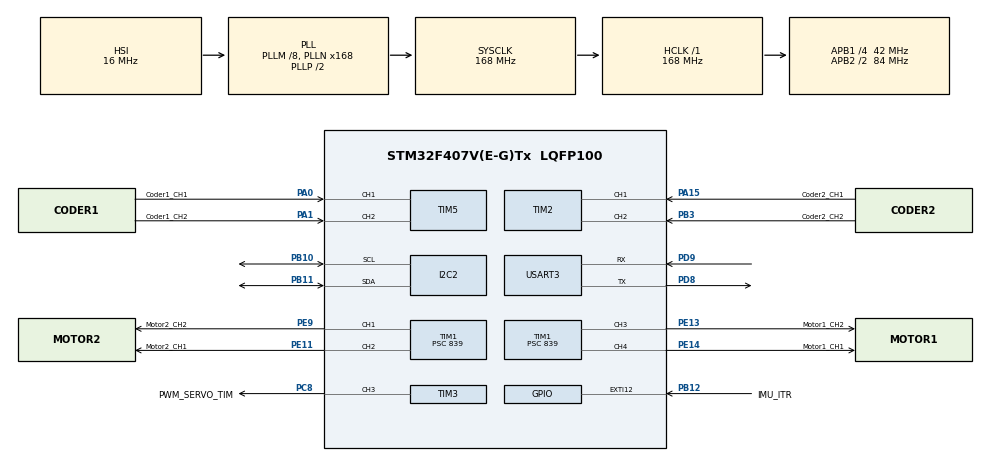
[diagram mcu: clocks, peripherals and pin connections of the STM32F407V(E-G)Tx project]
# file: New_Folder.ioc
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Dma.I2C2_RX.0.Direction=DMA_PERIPH_TO_MEMORY
Dma.I2C2_RX.0.FIFOMode=DMA_FIFOMODE_DISABLE
Dma.I2C2_RX.0.Instance=DMA1_Stream2
Dma.I2C2_RX.0.MemDataAlignment=DMA_MDATAALIGN_BYTE
Dma.I2C2_RX.0.MemInc=DMA_MINC_ENABLE
Dma.I2C2_RX.0.Mode=DMA_NORMAL
Dma.I2C2_RX.0.PeriphDataAlignment=DMA_PDATAALIGN_BYTE
Dma.I2C2_RX.0.PeriphInc=DMA_PINC_DISABLE
Dma.I2C2_RX.0.Priority=DMA_PRIORITY_VERY_HIGH
Dma.I2C2_TX.1.Direction=DMA_MEMORY_TO_PERIPH
Dma.I2C2_TX.1.FIFOMode=DMA_FIFOMODE_DISABLE
Dma.I2C2_TX.1.Instance=DMA1_Stream7
Dma.I2C2_TX.1.MemDataAlignment=DMA_MDATAALIGN_BYTE
Dma.I2C2_TX.1.MemInc=DMA_MINC_ENABLE
Dma.I2C2_TX.1.Mode=DMA_NORMAL
Dma.I2C2_TX.1.PeriphDataAlignment=DMA_PDATAALIGN_BYTE
Dma.I2C2_TX.1.PeriphInc=DMA_PINC_DISABLE
Dma.I2C2_TX.1.Priority=DMA_PRIORITY_VERY_HIGH
Dma.Request0=I2C2_RX
Dma.Request1=I2C2_TX
Dma.Request2=USART3_RX
Dma.Request3=USART3_TX
Dma.USART3_RX.2.Direction=DMA_PERIPH_TO_MEMORY
Dma.USART3_RX.2.FIFOMode=DMA_FIFOMODE_DISABLE
Dma.USART3_RX.2.Instance=DMA1_Stream1
Dma.USART3_RX.2.MemDataAlignment=DMA_MDATAALIGN_BYTE
Dma.USART3_RX.2.MemInc=DMA_MINC_ENABLE
Dma.USART3_RX.2.Mode=DMA_NORMAL
Dma.USART3_RX.2.PeriphDataAlignment=DMA_PDATAALIGN_BYTE
Dma.USART3_RX.2.PeriphInc=DMA_PINC_DISABLE
Dma.USART3_RX.2.Priority=DMA_PRIORITY_HIGH
Dma.USART3_TX.3.Direction=DMA_MEMORY_TO_PERIPH
Dma.USART3_TX.3.FIFOMode=DMA_FIFOMODE_DISABLE
Dma.USART3_TX.3.Instance=DMA1_Stream3
Dma.USART3_TX.3.MemDataAlignment=DMA_MDATAALIGN_BYTE
Dma.USART3_TX.3.MemInc=DMA_MINC_ENABLE
Dma.USART3_TX.3.Mode=DMA_NORMAL
Dma.USART3_TX.3.PeriphDataAlignment=DMA_PDATAALIGN_BYTE
Dma.USART3_TX.3.PeriphInc=DMA_PINC_DISABLE
Dma.USART3_TX.3.Priority=DMA_PRIORITY_HIGH
FREERTOS.Tasks01=defaultTask,8,128,StartDefaultTask,Default,NULL,Dynamic,NULL,NULL;myTask01,48,512,MotorCtrlTask,Default,NULL,Dynamic,NULL,NULL;myTask02,49,1024,CmdParseTask,Default,NULL,Dynamic,NULL,NULL;myTask04,40,1024,DataSendTask,Default,NULL,Dynamic,NULL,NULL
FREERTOS.configENABLE_FPU=1
Mcu.Family=STM32F4
Mcu.Name=STM32F407V(E-G)Tx
Mcu.Package=LQFP100
NVIC.DMA1_Stream1_IRQn=true\:5\:0\:false\:false\:true\:true\:false\:true\:true
NVIC.DMA1_Stream2_IRQn=true\:5\:0\:false\:false\:true\:true\:false\:true\:true
NVIC.DMA1_Stream3_IRQn=true\:5\:0\:false\:false\:true\:true\:false\:true\:true
NVIC.DMA1_Stream7_IRQn=true\:5\:0\:false\:false\:true\:true\:false\:true\:true
NVIC.EXTI15_10_IRQn=true\:5\:0\:false\:false\:true\:true\:true\:true\:true
NVIC.FLASH_IRQn=true\:5\:0\:false\:false\:true\:true\:true\:true\:true
NVIC.FPU_IRQn=true\:5\:0\:false\:false\:true\:true\:true\:false\:true
NVIC.I2C2_ER_IRQn=true\:5\:0\:false\:false\:true\:true\:true\:true\:true
NVIC.I2C2_EV_IRQn=true\:5\:0\:false\:false\:true\:true\:true\:true\:true
NVIC.PVD_IRQn=true\:5\:0\:false\:false\:true\:true\:true\:true\:true
NVIC.PriorityGroup=NVIC_PRIORITYGROUP_4
NVIC.RCC_IRQn=true\:5\:0\:false\:false\:true\:true\:true\:false\:true
NVIC.TIM1_BRK_TIM9_IRQn=true\:5\:0\:false\:false\:true\:true\:true\:true\:true
NVIC.TIM1_CC_IRQn=true\:5\:0\:false\:false\:true\:true\:true\:true\:true
NVIC.TIM1_TRG_COM_TIM11_IRQn=true\:5\:0\:false\:false\:true\:true\:true\:true\:true
NVIC.TIM1_UP_TIM10_IRQn=true\:5\:0\:false\:false\:true\:true\:true\:true\:true
NVIC.TIM2_IRQn=true\:7\:0\:true\:false\:true\:true\:true\:true\:true
NVIC.TIM3_IRQn=true\:7\:0\:true\:false\:true\:true\:true\:true\:true
NVIC.TIM5_IRQn=true\:7\:0\:true\:false\:true\:true\:true\:true\:true
NVIC.TIM6_DAC_IRQn=true\:6\:0\:true\:false\:true\:true\:true\:true\:true
NVIC.TIM8_TRG_COM_TIM14_IRQn=true\:0\:0\:true\:false\:true\:false\:false\:true\:true
NVIC.TimeBase=TIM8_TRG_COM_TIM14_IRQn
NVIC.TimeBaseIP=TIM14
NVIC.USART3_IRQn=true\:5\:0\:true\:false\:true\:true\:true\:true\:true
PA0-WKUP.GPIO_Label=Coder1_CH1
PA0-WKUP.Signal=S_TIM5_CH1
PA1.GPIO_Label=Coder1_CH2
PA1.Signal=S_TIM5_CH2
PA13.Mode=Serial_Wire
PA13.Signal=SYS_JTMS-SWDIO
PA14.Mode=Serial_Wire
PA14.Signal=SYS_JTCK-SWCLK
PA15.GPIO_Label=Coder2_CH1
PA15.Signal=S_TIM2_CH1_ETR
PB10.GPIO_Pu=GPIO_PULLUP
PB10.Mode=I2C
PB10.Signal=I2C2_SCL
PB11.GPIO_Pu=GPIO_PULLUP
PB11.Mode=I2C
PB11.Signal=I2C2_SDA
PB12.GPIO_Label=IMU_ITR
PB12.Signal=GPXTI12
PB3.GPIO_Label=Coder2_CH2
PB3.Signal=S_TIM2_CH2
PC14-OSC32_IN.Mode=LSE-External-Oscillator
PC14-OSC32_IN.Signal=RCC_OSC32_IN
PC15-OSC32_OUT.Mode=LSE-External-Oscillator
PC15-OSC32_OUT.Signal=RCC_OSC32_OUT
PC8.GPIO_Label=PWM_SERVO_TIM
PC8.GPIO_Speed=GPIO_SPEED_FREQ_HIGH
PC8.Signal=S_TIM3_CH3
PD8.Mode=Asynchronous
PD8.Signal=USART3_TX
PD9.Mode=Asynchronous
PD9.Signal=USART3_RX
PE11.GPIO_Label=Motor2_CH1
PE11.GPIO_Speed=GPIO_SPEED_FREQ_HIGH
PE11.Signal=S_TIM1_CH2
PE13.GPIO_Label=Motor1_CH2
PE13.GPIO_Speed=GPIO_SPEED_FREQ_HIGH
PE13.Signal=S_TIM1_CH3
PE14.GPIO_Label=Motor1_CH1
PE14.GPIO_Speed=GPIO_SPEED_FREQ_HIGH
PE14.Signal=S_TIM1_CH4
PE9.GPIO_Label=Motor2_CH2
PE9.GPIO_Speed=GPIO_SPEED_FREQ_HIGH
PE9.Signal=S_TIM1_CH1
PH0-OSC_IN.Mode=HSE-External-Oscillator
PH0-OSC_IN.Signal=RCC_OSC_IN
PH1-OSC_OUT.Mode=HSE-External-Oscillator
PH1-OSC_OUT.Signal=RCC_OSC_OUT
ProjectManager.HeapSize=0x200
ProjectManager.StackSize=0x400
ProjectManager.TargetToolchain=CMake
RCC.48MHZClocksFreq_Value=84000000
RCC.AHBFreq_Value=168000000
RCC.APB1CLKDivider=RCC_HCLK_DIV4
RCC.APB1Freq_Value=42000000
RCC.APB1TimFreq_Value=84000000
RCC.APB2CLKDivider=RCC_HCLK_DIV2
RCC.APB2Freq_Value=84000000
RCC.APB2TimFreq_Value=168000000
RCC.CortexFreq_Value=168000000
RCC.HCLKFreq_Value=168000000
RCC.HSE_VALUE=25000000
RCC.HSI_VALUE=16000000
RCC.PLLM=8
RCC.PLLN=168
RCC.SYSCLKFreq_VALUE=168000000
RCC.SYSCLKSource=RCC_SYSCLKSOURCE_PLLCLK
RCC.VCOOutputFreq_Value=336000000
SH.S_TIM1_CH1.0=TIM1_CH1,PWM Generation1 CH1
SH.S_TIM1_CH2.0=TIM1_CH2,PWM Generation2 CH2
SH.S_TIM1_CH3.0=TIM1_CH3,PWM Generation3 CH3
SH.S_TIM1_CH4.0=TIM1_CH4,PWM Generation4 CH4
SH.S_TIM2_CH1_ETR.0=TIM2_CH1,Encoder_Interface
SH.S_TIM2_CH2.0=TIM2_CH2,Encoder_Interface
SH.S_TIM3_CH3.0=TIM3_CH3,PWM Generation3 CH3
SH.S_TIM5_CH1.0=TIM5_CH1,Encoder_Interface
SH.S_TIM5_CH2.0=TIM5_CH2,Encoder_Interface
TIM1.AutoReloadPreload=TIM_AUTORELOAD_PRELOAD_ENABLE
TIM1.Channel-PWM\ Generation1\ CH1=TIM_CHANNEL_1
TIM1.Channel-PWM\ Generation2\ CH2=TIM_CHANNEL_2
TIM1.Channel-PWM\ Generation3\ CH3=TIM_CHANNEL_3
TIM1.Channel-PWM\ Generation4\ CH4=TIM_CHANNEL_4
TIM1.Period=999
TIM1.Prescaler=839
TIM3.AutoReloadPreload=TIM_AUTORELOAD_PRELOAD_ENABLE
TIM3.Channel-PWM\ Generation3\ CH3=TIM_CHANNEL_3
TIM3.Period=3359
TIM3.Prescaler=999
TIM6.Period=99
TIM6.Prescaler=8399
USART3.VirtualMode=VM_ASYNC
VP_FREERTOS_VS_CMSIS_V2.Mode=CMSIS_V2
VP_SYS_VS_tim14.Mode=TIM14
VP_TIM1_VS_ClockSourceINT.Mode=Internal
VP_TIM6_VS_ClockSourceINT.Mode=Enable_Timer
board=custom

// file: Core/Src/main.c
/* USER CODE BEGIN Header */
/**
  ******************************************************************************
  * @file           : main.c
  * @brief          : Main program body
  ******************************************************************************
  * @attention
  *
  * Copyright (c) 2026 STMicroelectronics.
  * All rights reserved.
  *
  * This software is licensed under terms that can be found in the LICENSE file
  * in the root directory of this software component.
  * If no LICENSE file comes with this software, it is provided AS-IS.
  *
  ******************************************************************************
  */
/* USER CODE END Header */
#include "main.h"
#include "cmsis_os.h"
#include "dma.h"
#include "i2c.h"
#include "tim.h"
#include "usart.h"
#include "gpio.h"

/* USER CODE BEGIN Includes */
#include "encoder_motor.h"
#include "motor_porting.h"
/* USER CODE END Includes */

void SystemClock_Config(void);
void MX_FREERTOS_Init(void);

int main(void)
{

  /* MCU Configuration--------------------------------------------------------*/

  /* Reset of all peripherals, Initializes the Flash interface and the Systick. */
  HAL_Init();

  /* Configure the system clock */
  SystemClock_Config();

  /* Initialize all configured peripherals */
  MX_GPIO_Init();
  MX_DMA_Init();
  MX_I2C2_Init();
  MX_USART3_UART_Init();
  MX_TIM1_Init();
  MX_TIM2_Init();
  MX_TIM5_Init();
  MX_TIM6_Init();
  MX_TIM3_Init();
  /* USER CODE BEGIN 2 */

  // 提高系统时间基准 TIM14 的中断优先级，避免被高优先级中断饿死
  HAL_NVIC_SetPriority(TIM8_TRG_COM_TIM14_IRQn, 5, 0);
  /* USER CODE END 2 */

  /* Init scheduler */
  osKernelInitialize();  /* Call init function for freertos objects (in cmsis_os2.c) */
  MX_FREERTOS_Init();

  /* Start scheduler */
  osKernelStart();

  /* We should never get here as control is now taken by the scheduler */

  /* Infinite loop */
  while (1)
  {

  }
}

void SystemClock_Config(void)
{
  RCC_OscInitTypeDef RCC_OscInitStruct = {0};
  RCC_ClkInitTypeDef RCC_ClkInitStruct = {0};

  /** Configure the main internal regulator output voltage
  */
  __HAL_RCC_PWR_CLK_ENABLE();
  __HAL_PWR_VOLTAGESCALING_CONFIG(PWR_REGULATOR_VOLTAGE_SCALE1);

  /** Initializes the RCC Oscillators according to the specified parameters
  * in the RCC_OscInitTypeDef structure.
  */
  RCC_OscInitStruct.OscillatorType = RCC_OSCILLATORTYPE_HSI;
  RCC_OscInitStruct.HSIState = RCC_HSI_ON;
  RCC_OscInitStruct.HSICalibrationValue = RCC_HSICALIBRATION_DEFAULT;
  RCC_OscInitStruct.PLL.PLLState = RCC_PLL_ON;
  RCC_OscInitStruct.PLL.PLLSource = RCC_PLLSOURCE_HSI;
  RCC_OscInitStruct.PLL.PLLM = 8;
  RCC_OscInitStruct.PLL.PLLN = 168;
  RCC_OscInitStruct.PLL.PLLP = RCC_PLLP_DIV2;
  RCC_OscInitStruct.PLL.PLLQ = 4;
  if (HAL_RCC_OscConfig(&RCC_OscInitStruct) != HAL_OK)
  {
    Error_Handler();
  }

  /** Initializes the CPU, AHB and APB buses clocks
  */
  RCC_ClkInitStruct.ClockType = RCC_CLOCKTYPE_HCLK|RCC_CLOCKTYPE_SYSCLK
                              |RCC_CLOCKTYPE_PCLK1|RCC_CLOCKTYPE_PCLK2;
  RCC_ClkInitStruct.SYSCLKSource = RCC_SYSCLKSOURCE_PLLCLK;
  RCC_ClkInitStruct.AHBCLKDivider = RCC_SYSCLK_DIV1;
  RCC_ClkInitStruct.APB1CLKDivider = RCC_HCLK_DIV4;
  RCC_ClkInitStruct.APB2CLKDivider = RCC_HCLK_DIV2;

  if (HAL_RCC_ClockConfig(&RCC_ClkInitStruct, FLASH_LATENCY_5) != HAL_OK)
  {
    Error_Handler();
  }
}

void HAL_TIM_PeriodElapsedCallback(TIM_HandleTypeDef *htim)
{
  /* USER CODE BEGIN Callback 0 */
  /* 处理系统时间基准：TIM14 负责 HAL Tick */
  /* USER CODE END Callback 0 */
  if (htim->Instance == TIM14)
  {
    HAL_IncTick();
  }
  /* USER CODE BEGIN Callback 1 */
  else if (htim->Instance == TIM6)
  {
    static uint32_t last_tick_motor = 0;
    uint32_t now = HAL_GetTick();           // 此时 uwTick 已由 TIM14 正常更新
    float period = (now - last_tick_motor) / 1000.0f;
    if (period <= 0.0f || period > 0.1f) period = 0.01f;
    last_tick_motor = now;

    int32_t cnt1 = __HAL_TIM_GET_COUNTER(&htim5);
    int32_t cnt2 = __HAL_TIM_GET_COUNTER(&htim2);
    encoder_update(&motor1, period, cnt1);
    encoder_update(&motor2, period, cnt2);
  }
  /* USER CODE END Callback 1 */
}

void Error_Handler(void)
{
  __disable_irq();
  while (1)
  {
  }
}

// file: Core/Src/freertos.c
/* USER CODE BEGIN Header */
/**
  ******************************************************************************
  * File Name          : freertos.c
  * Description        : Code for freertos applications
  ******************************************************************************
  * @attention
  *
  * Copyright (c) 2026 STMicroelectronics.
  * All rights reserved.
  *
  * This software is licensed under terms that can be found in the LICENSE file
  * in the root directory of this software component.
  * If no LICENSE file comes with this software, it is provided AS-IS.
  *
  ******************************************************************************
  */
/* USER CODE END Header */

#include "FreeRTOS.h"
#include "task.h"
#include "main.h"
#include "cmsis_os.h"

/* USER CODE BEGIN Includes */
#include "comm_protocol.h"
#include "motor_porting.h"
#include "QMI8658.h"
#include "usart.h"
#include <string.h>
#include "pid.h"
#include "queue.h"
#include "tim.h"
#include "semphr.h"      // 互斥锁头文件
/* USER CODE END Includes */

/* USER CODE BEGIN PTD */

typedef struct {
  float motor1_target_rps;
  float motor2_target_rps;
} MotorCmd_t;
/* USER CODE END PTD */

/* USER CODE BEGIN PD */

// 遥测数据发送周期（毫秒）
#define TELEMETRY_SEND_PERIOD_MS    10
/* USER CODE END PD */

/* USER CODE BEGIN Variables */

static float target_rps_low_limit = 25.0f;
static CommandPacket rxCmd;
static MotorCmd_t MotorCmd;
static uint16_t servoAngle;

// 队列句柄
static QueueHandle_t xMotorCmdQueue = NULL;
static QueueHandle_t xServoCmdQueue = NULL;

// 串口互斥锁（保护 HAL_UART_Receive / HAL_UART_Transmit）
static SemaphoreHandle_t xUartMutex = NULL;

// 共享姿态数据（由IMU任务更新，遥测任务读取）
static volatile float g_roll = 0.0f;
static volatile float g_pitch = 0.0f;
static volatile float g_yaw = 0.0f;
/* USER CODE END Variables */
/* Definitions for defaultTask */
osThreadId_t defaultTaskHandle;
const osThreadAttr_t defaultTask_attributes = {
  .name = "defaultTask",
  .stack_size = 128 * 4,
  .priority = (osPriority_t) osPriorityLow,
};
/* Definitions for myTask01 */
osThreadId_t myTask01Handle;
const osThreadAttr_t myTask01_attributes = {
  .name = "myTask01",
  .stack_size = 512 * 4,
  .priority = (osPriority_t) osPriorityRealtime,
};
/* Definitions for myTask02 */
osThreadId_t myTask02Handle;
const osThreadAttr_t myTask02_attributes = {
  .name = "myTask02",
  .stack_size = 1024 * 4,
  .priority = (osPriority_t) osPriorityRealtime1,
};
/* Definitions for myTask04 */
osThreadId_t myTask04Handle;
const osThreadAttr_t myTask04_attributes = {
  .name = "myTask04",
  .stack_size = 1024 * 4,
  .priority = (osPriority_t) osPriorityHigh,
};

/* USER CODE BEGIN FunctionPrototypes */
static void SystemHardwareInit(void);  // 硬件初始化（电机、IMU、PWM等）
/* USER CODE END FunctionPrototypes */

void StartDefaultTask(void *argument);
void MotorCtrlTask(void *argument);
void CmdParseTask(void *argument);
void DataSendTask(void *argument);

void MX_FREERTOS_Init(void); /* (MISRA C 2004 rule 8.1) */

void MX_FREERTOS_Init(void) {
  /* USER CODE BEGIN Init */
  SystemHardwareInit();

  // 创建队列
  xMotorCmdQueue = xQueueCreate(5, sizeof(MotorCmd_t));
  xServoCmdQueue = xQueueCreate(5, sizeof(uint16_t));
  if (xMotorCmdQueue == NULL || xServoCmdQueue == NULL) {
    Error_Handler();
  }

  // 创建串口互斥锁
  xUartMutex = xSemaphoreCreateMutex();
  if (xUartMutex == NULL) {
    Error_Handler();
  }

  MotorCmd.motor1_target_rps = target_rps_low_limit;
  MotorCmd.motor2_target_rps = target_rps_low_limit;

  /* USER CODE END Init */

  /* Create the thread(s) */
  /* creation of defaultTask */
  defaultTaskHandle = osThreadNew(StartDefaultTask, NULL, &defaultTask_attributes);

  /* creation of myTask01 */
  myTask01Handle = osThreadNew(MotorCtrlTask, NULL, &myTask01_attributes);

  /* creation of myTask02 */
  myTask02Handle = osThreadNew(CmdParseTask, NULL, &myTask02_attributes);

  /* creation of myTask04 */
  myTask04Handle = osThreadNew(DataSendTask, NULL, &myTask04_attributes);

}

void StartDefaultTask(void *argument)
{
  for(;;)
  {
    osDelay(1);
  }
}

void MotorCtrlTask(void *argument)
{
  /* USER CODE BEGIN MotorCtrlTask */
  /* Infinite loop */
  for(;;)
  {
    if (xQueueReceive(xMotorCmdQueue, &MotorCmd, portMAX_DELAY) == pdTRUE)
    {
      // 设置 PID 目标值
      PID_SetTarget(&pid_motor1, MotorCmd.motor1_target_rps);
      PID_SetTarget(&pid_motor2, MotorCmd.motor2_target_rps);

      // 获取实际转速（已在 TIM6 中断中更新 motor.rps）
      taskENTER_CRITICAL();
      float rps1 = motor1.rps;
      float rps2 = motor2.rps;
      taskEXIT_CRITICAL();

      // 计算 PID 输出（位置式）
      float pulse1 = PID_Update_Position(&pid_motor1, rps1);
      float pulse2 = PID_Update_Position(&pid_motor2, rps2);

      // 电机 2 方向取反（根据原有逻辑）
      motor_set_pulse(&motor1, (int)pulse1);
      motor_set_pulse(&motor2, (int)pulse2);
    }
    osDelay(1);  // 控制周期可适当调整，例如 10ms
  }
  /* USER CODE END MotorCtrlTask */
}

void CmdParseTask(void *argument)
{
  /* USER CODE BEGIN CmdParseTask */

  /* Infinite loop */
  for(;;)
  {
    // 获取互斥锁，带超时（100ms）避免死锁
    if (xSemaphoreTake(xUartMutex, pdMS_TO_TICKS(50)) == pdTRUE)
    {
      // 阻塞接收一帧指令（超时100ms）
      HAL_StatusTypeDef status = HAL_UART_Receive(&huart3, (uint8_t*)&rxCmd, sizeof(CommandPacket), 100);
      xSemaphoreGive(xUartMutex);

      if (status == HAL_OK)
      {
        // 解析电机指令

        if (rxCmd.motor1_target_rps  > target_rps_low_limit)
        {
          MotorCmd.motor1_target_rps = rxCmd.motor1_target_rps;
        }
        else
        {
          MotorCmd.motor1_target_rps = target_rps_low_limit;
        }

        if (rxCmd.motor2_target_rps  > target_rps_low_limit)
        {
          MotorCmd.motor2_target_rps = rxCmd.motor2_target_rps;
        }
        else
        {
          MotorCmd.motor2_target_rps = target_rps_low_limit;
        }

        // motorCmd.motor1_target_rps = rxCmd.motor1_target_rps;
        // motorCmd.motor2_target_rps = rxCmd.motor2_target_rps;
        xQueueSend(xMotorCmdQueue, &MotorCmd, 0);

        // 解析舵机角度（0~180）
        servoAngle = rxCmd.servo_angle;
        if (servoAngle > 180) servoAngle = 180;
        __HAL_TIM_SET_COMPARE(&htim3, TIM_CHANNEL_3, servoAngle);
        xQueueSend(xServoCmdQueue, &servoAngle, 0);
        taskYIELD();
      }
      else
      {
        HAL_UART_AbortReceive(&huart3);
        __HAL_UART_CLEAR_FLAG(&huart3, UART_FLAG_ORE | UART_FLAG_NE | UART_FLAG_FE | UART_FLAG_PE);
        // 重新使能接收器
        SET_BIT(huart3.Instance->CR1, USART_CR1_RE);
      }
    }
    else
    {
      // 未获得锁，主动让出 CPU
      taskYIELD();
    }
    osDelay(1);
  }
  /* USER CODE END CmdParseTask */
}

void DataSendTask(void *argument)
{
  /* USER CODE BEGIN DataSendTask */
  TelemetryPacket txPacket;
  TickType_t lastWakeTime = xTaskGetTickCount();
  /* Infinite loop */
  for(;;)
  {
    // 等待固定周期
    vTaskDelayUntil(&lastWakeTime, pdMS_TO_TICKS(TELEMETRY_SEND_PERIOD_MS));

    // 填充帧头
    txPacket.header[0] = 0xAA;
    txPacket.header[1] = 0x55;

    // 获取欧拉角（内部使用上次调用时间差，建议固定周期10ms）
    QMI8658_GetEulerSimple(&g_roll, &g_pitch, &g_yaw);

    // 填充遥测数据
    txPacket.roll = g_roll;
    txPacket.pitch = g_pitch;
    txPacket.yaw = g_yaw;
    txPacket.motor1_actual_rps = motor1.rps;
    txPacket.motor2_actual_rps = motor2.rps;

    // 获取互斥锁，保护串口发送操作（超时50ms）
    if (xSemaphoreTake(xUartMutex, pdMS_TO_TICKS(50)) == pdTRUE)
    {
      HAL_UART_Transmit(&huart3, (uint8_t*)&txPacket, sizeof(TelemetryPacket), 20);
      xSemaphoreGive(xUartMutex);
    }
    osDelay(1);
  }
  /* USER CODE END DataSendTask */
}

/* USER CODE BEGIN Application */
static void SystemHardwareInit(void) {
  // 初始化电机（包含PWM启动、编码器启动、TIM6中断启动）
  motor_init();

  // 初始化QMI8658姿态传感器
  if (!QMI8658_Init())
  {
    Error_Handler();
  }

  // 启动舵机PWM
  HAL_TIM_PWM_Start(&htim3, TIM_CHANNEL_3);
  // 设置初始角度90度对应的PWM比较值（84~420映射）
  __HAL_TIM_SET_COMPARE(&htim3, TIM_CHANNEL_3, 90);
}
/* USER CODE END Application */
